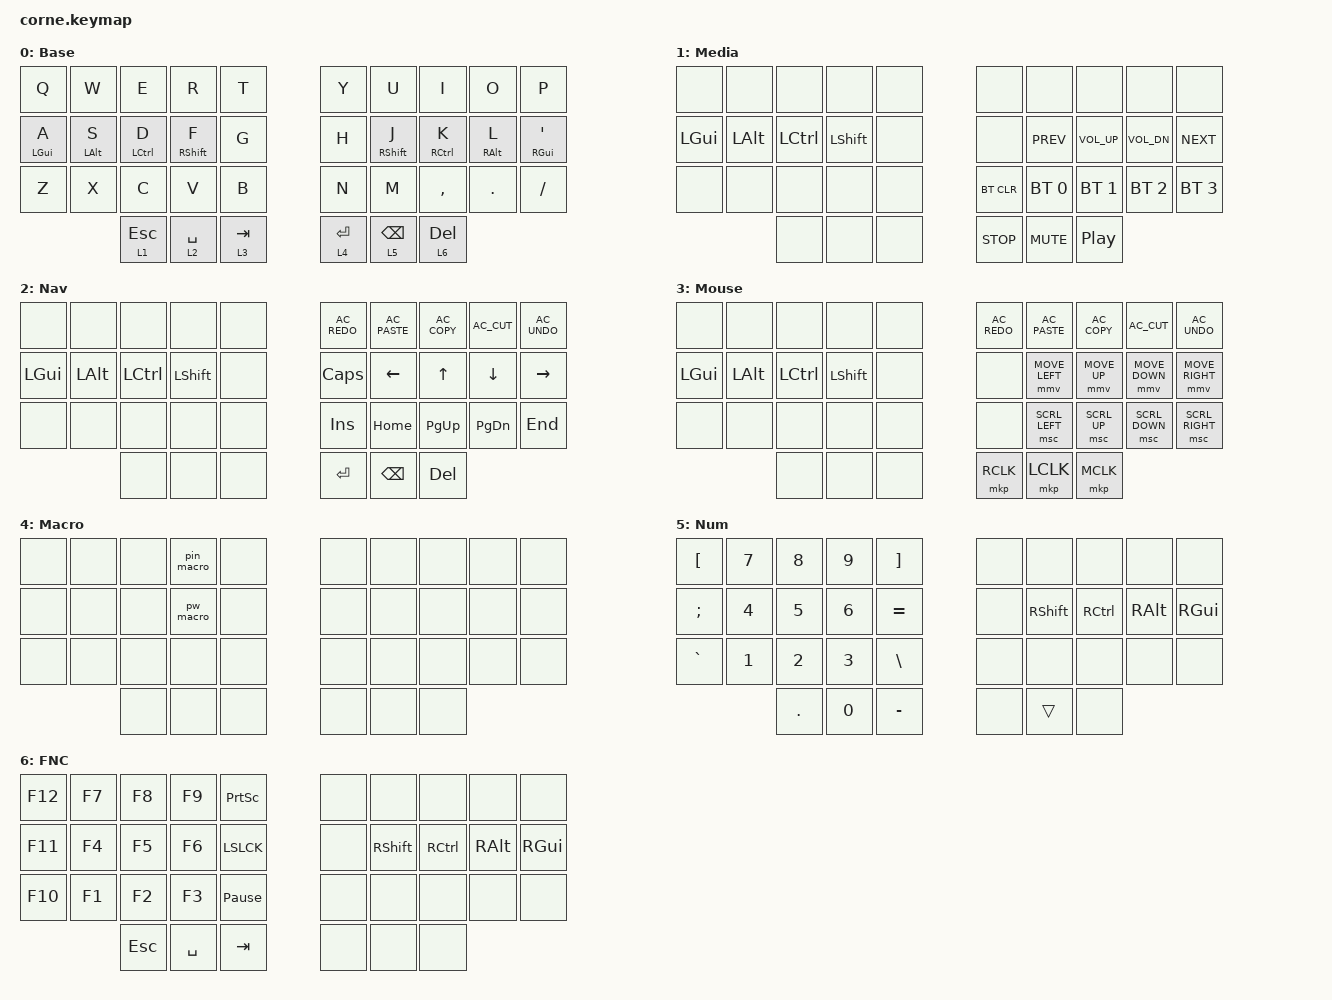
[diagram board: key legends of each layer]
/*
 * Copyright (c) 2020 The ZMK Contributors
 *
 * SPDX-License-Identifier: MIT
 */

#include <behaviors.dtsi>
#include <dt-bindings/zmk/keys.h>
#include <dt-bindings/zmk/bt.h>
#include <dt-bindings/zmk/pointing.h>

/ {
    chosen {
        zmk,physical-layout = &foostan_corne_5col_layout;
    };

    behaviors {
        hml: home_row_mod_left {
            compatible = "zmk,behavior-hold-tap";
            #binding-cells = <2>;
            flavor = "balanced";
            require-prior-idle-ms = <150>;
            tapping-term-ms = <200>;
            quick-tap-ms = <175>;
            bindings = <&kp>, <&kp>;
            hold-trigger-key-positions = <5 6 7 8 9 15 16 17 18 19 25 26 27 28 29 33 34 35>; // List of keys on the right side of the keyboard
            hold-trigger-on-release;
        };
        hmr: home_row_mod_right {
            compatible = "zmk,behavior-hold-tap";
            #binding-cells = <2>;
            flavor = "balanced";
            require-prior-idle-ms = <150>;
            tapping-term-ms = <200>;
            quick-tap-ms = <175>;
            bindings = <&kp>, <&kp>;
            hold-trigger-key-positions = <0 1 2 3 4 10 11 12 13 14 20 21 22 23 24 30 31 32>; // List of keys on the left side of the keyboard
            hold-trigger-on-release;
        };
        macros {
        pin_macro: pin_macro {
            compatible = "zmk,behavior-macro";
            #binding-cells = <0>;
            bindings = <
                &kp N9 &kp N8 &kp N9
                &kp N1 &kp N9 &kp N8
                &kp N9 &kp N1
            >;
        };
                };

    };
        keymap {
                compatible = "zmk,keymap"; 
                base_layer { 
                        display-name = "Base"; // layer 0
                        bindings = <
                        //╭──────────┬──────────┬──────────┬──────────┬──────────╮   ╭──────────┬──────────┬──────────┬──────────┬──────────╮
                        //│  Q       │  W       │  E       │  R       │  T       │   │  Y       │  U       │  I       │  O       │  P       │
                            &kp Q     &kp W       &kp E      &kp R      &kp T          &kp Y      &kp U       &kp I     &kp O     &kp P
                        //├──────────┼──────────┼──────────┼──────────┼──────────┤   ├──────────┼──────────┼──────────┼──────────┼──────────
                        //│  A       │  S       │  D       │  F       │  G       │   │  H       │  J       │  K       │  L       │ ' "      │
                            &hml LGUI A &hml LALT S &hml LCTL D &hml RSHFT F &kp G    &kp H &hmr RSHFT J &hmr RCTL K &hmr RALT L &hmr RGUI APOS
                        //├──────────┼──────────┼──────────┼──────────┼──────────┤   ├──────────┼──────────┼──────────┼──────────┼──────────
                        //│  Z       │  X       │  C       │  V       │  B       │   │  N       │  M       │  , <     │ . >      │ / ?      │
                            &kp Z      &kp X      &kp C      &kp V      &kp B          &kp N      &kp M      &kp COMMA  &kp DOT   &kp FSLH
                        //╰──────────┴──────────┼──────────┼──────────┼──────────┤   ├──────────┼──────────┼──────────┴──────────┴──────────╯
                        //                      │ L1 & ESC │ L2 & SPC │ L3 & TAB │   │ L4 & RET │ L5 & BSPC│ L6 & DEL │                                          
                                                 &lt 1 ESC  &lt 2 SPACE &lt 3 TAB      &lt 4 RET  &lt 5 BSPC &lt 6 DEL 
                        //                      ╰──────────┴──────────┴──────────╯   ╰──────────┴──────────┴──────────╯
                        >;                        
                };
                media_layer { 
                        display-name = "Media"; // layer 1
                        bindings = <
                        //╭──────────┬──────────┬──────────┬──────────┬──────────╮   ╭──────────┬──────────┬──────────┬──────────┬──────────╮
                        //│          │          │          │          │          │   │          │          │          │          │          │
                            &none      &none      &none      &none      &none          &none      &none       &none     &none     &none
                        //├──────────┼──────────┼──────────┼──────────┼──────────┤   ├──────────┼──────────┼──────────┼──────────┼──────────
                        //│  L. GUI  │ L. ALT   │ L. CTL   │ L. SHIFT │          │   │          │  PREVIOUS│  VOL +   │  VOL -   │ NEXT     │
                            &kp LGUI   &kp LALT   &kp LCTL   &kp LSHFT   &none         &none     &kp C_PREV &kp C_VOL_UP &kp C_VOL_DN &kp C_NEXT
                        //├──────────┼──────────┼──────────┼──────────┼──────────┤   ├──────────┼──────────┼──────────┼──────────┼──────────
                        //│          │          │          │          │          │   │  BT CLR  │  BT 0    │  BT 1    │  BT 2    │ BT 3     │
                            &none      &none      &none      &none      &none        &bt BT_CLR &bt BT_SEL 0 &bt BT_SEL 1 &bt BT_SEL 2 &bt BT_SEL 3
                        //╰──────────┴──────────┼──────────┼──────────┼──────────┤   ├──────────┼──────────┼──────────┴──────────┴──────────╯
                        //                      │          │          │          │   │ STOP     │PLAY PAUSE│ MUTE     │   
                                                  &none        &none      &none      &kp C_STOP  &kp C_MUTE &kp C_PP
                        //                      ╰──────────┴──────────┴──────────╯   ╰──────────┴──────────┴──────────╯
                        >;
                };
                nav_layer { 
                        display-name = "Nav"; // layer 2
                        bindings = <
                        //╭──────────┬──────────┬──────────┬──────────┬──────────╮   ╭──────────┬──────────┬──────────┬──────────┬──────────╮
                        //│          │          │          │          │          │   │  REDO    │ PASTE    | COPY     │ CUT      │ UNDO     │
                            &none      &none      &none      &none      &none          &kp C_AC_REDO &kp C_AC_PASTE &kp C_AC_COPY &kp C_AC_CUT &kp C_AC_UNDO
                        //├──────────┼──────────┼──────────┼──────────┼──────────┤   ├──────────┼──────────┼──────────┼──────────┼──────────
                        //│  L. GUI  │ L. ALT   │ L. CTL   │ L. SHIFT │          │   │ CAPS     │ LEFT     │ UP       │ DOWN       │ RIGHT    │
                            &kp LGUI   &kp LALT   &kp LCTL   &kp LSHFT  &none          &kp CAPS   &kp LEFT &kp UP &kp DOWN &kp RIGHT
                        //├──────────┼──────────┼──────────┼──────────┼──────────┤   ├──────────┼──────────┼──────────┼──────────┼──────────
                        //│          │          │          │          │          │   │ INSERT   │ HOME     │ PAGE UP  │ PAGE DOWN  │ END      │
                            &none      &none      &none      &none      &none          &kp INS    &kp HOME   &kp PG_UP  &kp PG_DN  &kp END
                        //╰──────────┴──────────┼──────────┼──────────┼──────────┤   ├──────────┼──────────┼──────────┴──────────┴──────────╯
                        //                      │          │          │          │   │ ENTER    │ BACKSPACE│ DELETE   │   
                                                  &none      &none      &none          &kp RET    &kp BSPC   &kp DEL
                        //                      ╰──────────┴──────────┴──────────╯   ╰──────────┴──────────┴──────────╯
                        >;
                };
                mouse_layer { 
                        display-name = "Mouse"; // layer 3
                        bindings = <
                        //╭──────────┬──────────┬──────────┬──────────┬──────────╮   ╭──────────┬──────────┬──────────┬──────────┬──────────╮
                        //│          │          │          │          │          │   │  REDO    │ PASTE    | COPY     │ CUT      │ UNDO     │
                            &none      &none      &none      &none      &none         &kp C_AC_REDO &kp C_AC_PASTE &kp C_AC_COPY &kp C_AC_CUT &kp C_AC_UNDO
                        //├──────────┼──────────┼──────────┼──────────┼──────────┤   ├──────────┼──────────┼──────────┼──────────┼──────────
                        //│  L. GUI  │ L. ALT   │ L. CTL   │ L. SHIFT │          │   │          │  LEFT    │ UP       │ DOWN       │ RIGHT    │
                            &kp LGUI   &kp LALT   &kp LCTL   &kp LSHFT   &none         &none     &mmv MOVE_LEFT &mmv MOVE_UP &mmv MOVE_DOWN &mmv MOVE_RIGHT
                        //├──────────┼──────────┼──────────┼──────────┼──────────┤   ├──────────┼──────────┼──────────┼──────────┼──────────
                        //│          │          │          │          │          │   │          │SCRL LEFT │SCRL UP │SCRL DOWN   │SCRL RIGHT│
                            &none      &none      &none      &none      &none          &none     &msc SCRL_LEFT &msc SCRL_UP &msc SCRL_DOWN &msc SCRL_RIGHT
                        //╰──────────┴──────────┼──────────┼──────────┼──────────┤   ├──────────┼──────────┼──────────┴──────────┴──────────╯
                        //                      │          │          │          │   │ R. CLICK │ L. CLICK │ MID CLICK│                           
                                                  &none        &none      &none       &mkp RCLK  &mkp LCLK &mkp MCLK
                        //                      ╰──────────┴──────────┴──────────╯   ╰──────────┴──────────┴──────────╯
                        >;
                };
                macro_layer { 
                        display-name = "Macro"; // layer 4
                        bindings = <
                        //╭──────────┬──────────┬──────────┬──────────┬──────────╮   ╭──────────┬──────────┬──────────┬──────────┬──────────╮
                        //│          │          │          │          │          │   │          │          │          │          │          │
                            &none      &none      &none      &pin_macro   &none          &none      &none      &none      &none      &none
                        //├──────────┼──────────┼──────────┼──────────┼──────────┤   ├──────────┼──────────┼──────────┼──────────┼──────────
                        //│          │          │          │          │          │   │          │          │          │          │          │
                            &none      &none      &none      &pw_macro    &none          &none      &none      &none      &none      &none
                        //├──────────┼──────────┼──────────┼──────────┼──────────┤   ├──────────┼──────────┼──────────┼──────────┼──────────
                        //│          │          │          │          │          │   │          │          │          │          │          │
                            &none      &none      &none      &none      &none          &none      &none      &none      &none      &none
                        //╰──────────┴──────────┼──────────┼──────────┼──────────┤   ├──────────┼──────────┼──────────┴──────────┴──────────╯
                        //                      │          │          │          │   │          │          │          │   
                                                 &none      &none      &none           &none      &none      &none
                        //                      ╰──────────┴──────────┴──────────╯   ╰──────────┴──────────┴──────────╯
                        >;
                };
                number_layer { 
                        display-name = "Num"; // layer 5
                        bindings = <
                        //╭──────────┬──────────┬──────────┬──────────┬──────────╮   ╭──────────┬──────────┬──────────┬──────────┬──────────╮
                        //│ [       │ 7 &      │ 8 *      │ 9 (      │ ]       │   │          │          │          │          │          │
                            &kp LBKT   &kp N7      &kp N8     &kp N9    &kp RBKT       &none      &none      &none      &none      &none   
                        //├──────────┼──────────┼──────────┼──────────┼──────────┤   ├──────────┼──────────┼──────────┼──────────┼──────────
                        //│ ; :      │ 4 $      │ 5 %      │ 6 ^      │ = +      │   │          │ R. SHIFT │  R. CTL  │ R. ALT   │ R. GUI   │  
                            &kp SEMI   &kp N4      &kp N5     &kp N6   &kp EQUAL       &none      &kp RSHFT &kp RCTL   &kp RALT   &kp RGUI
                        //├──────────┼──────────┼──────────┼──────────┼──────────┤   ├──────────┼──────────┼──────────┼──────────┼──────────
                        //│ ` ~      │ 1 !      │ 2 @      │ 3 #      │ \ |      │   │          │          │          │          │          │
                            &kp GRAVE  &kp N1     &kp N2     &kp N3     &kp BSLH       &none      &none      &none      &none      &none    
                        //╰──────────┴──────────┼──────────┼──────────┼──────────┤   ├──────────┼──────────┼──────────┴──────────┴──────────╯
                        //                      │ . >      │ 0 )      │ - _      │   │          │          │          │   
                                                  &kp DOT    &kp N0     &kp MINUS      &none      &trans      &none
                        //                      ╰──────────┴──────────┴──────────╯   ╰──────────┴──────────┴──────────╯
                        >;
                };
                function_layer { 
                        display-name = "FNC"; // layer 6
                        bindings = <
                        //╭──────────┬──────────┬──────────┬──────────┬──────────╮   ╭──────────┬──────────┬──────────┬──────────┬──────────╮
                        //│ F12      │ F7       │ F8       │ F9       │ PrintSC  │   │          │          │          │          │          │
                            &kp F12    &kp F7     &kp F8     &kp F9     &kp PSCRN      &none      &none      &none      &none      &none     
                        //├──────────┼──────────┼──────────┼──────────┼──────────┤   ├──────────┼──────────┼──────────┼──────────┼──────────
                        //│ F11      │ F4       │ F5       │ F6       │ SCRL LCK │   │          │ R. SHIFT │ R. CTL   │ R. ALT   │ R. GUI   │ 
                            &kp F11    &kp F4     &kp F5     &kp F6     &kp LSLCK      &none      &kp RSHFT  &kp RCTL   &kp RALT   &kp RGUI
                        //├──────────┼──────────┼──────────┼──────────┼──────────┤   ├──────────┼──────────┼──────────┼──────────┼──────────
                        //│ F10      │ F1       │ F2       │ F3       │ PAUSE BRK│   │          │          │          │          │          │
                            &kp F10    &kp F1     &kp F2     &kp F3     &kp PAUSE_BREAK &none     &none      &none      &none      &none
                        //╰──────────┴──────────┼──────────┼──────────┼──────────┤   ├──────────┼──────────┼──────────┴──────────┴──────────╯
                        //                      │ ESC      │ SPC      │ TAB      │   │          │          │          │  
                                                 &kp ESC     &kp SPACE    &kp TAB        &none      &none      &none
                        //                      ╰──────────┴──────────┴──────────╯   ╰──────────┴──────────┴──────────╯
                        >;
                };
        };
};
